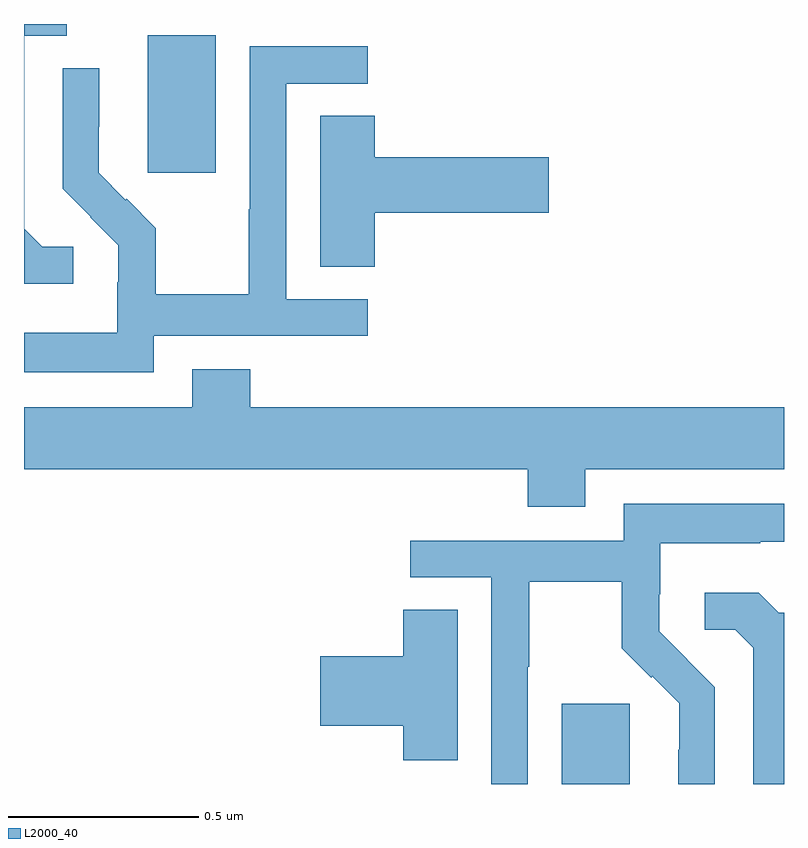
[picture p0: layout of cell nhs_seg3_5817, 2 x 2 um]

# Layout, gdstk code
import gdstk
lib = gdstk.Library(unit=1e-6, precision=1e-09)
def R(c, l, rs):  # rectangles x0, y0, x1, y1
    for r in rs: c.add(gdstk.rectangle(r[:2], r[2:], *l))
def P(c, l, *ps):  # polygons
    for p in ps: c.add(gdstk.Polygon(p, *l))
L2000_40 = (2000, 40)

nhs_seg3_5817 = lib.new_cell('nhs_seg3_5817')
R(nhs_seg3_5817, L2000_40, [(184.415,721.4,184.594,721.611), (183.326,723.009,183.505,723.37)])
P(nhs_seg3_5817, L2000_40, [(183.13,722.814),(183.048,722.814),(183.001,722.861),(183.001,723.369),(183.112,723.369),(183.112,723.4),(183,723.4),(183,722.717),(183.13,722.717)],
  [(183.342,722.58),(183.904,722.58),(183.904,722.676),(183.69,722.676),(183.69,723.243),(183.904,723.243),(183.904,723.342),(183.594,723.342),(183.594,722.912),(183.592,722.912),(183.592,722.689),(183.347,722.689),(183.347,722.863),(183.27,722.94),(183.267,722.937),(183.197,723.008),(183.197,723.13),(183.198,723.13),(183.198,723.284),(183.102,723.284),(183.102,722.966),(183.175,722.893),(183.174,722.892),(183.248,722.818),(183.248,722.721),(183.246,722.721),(183.246,722.587),(183,722.587),(183,722.483),(183.342,722.483)],
  [(183.923,722.903),(184.381,722.903),(184.381,723.05),(183.923,723.05),(183.923,723.158),(183.779,723.158),(183.779,722.761),(183.923,722.761)],
  [(184.477,722.228),(185,722.228),(185,722.392),(183.596,722.392),(183.596,722.491),(183.443,722.491),(183.443,722.392),(183,722.392),(183,722.228),(184.325,722.228),(184.325,722.129),(184.477,722.129)],
  [(184.326,721.708),(184.329,721.708),(184.329,721.932),(184.573,721.932),(184.573,721.757),(184.65,721.68),(184.653,721.683),(184.724,721.613),(184.724,721.49),(184.722,721.49),(184.722,721.4),(184.818,721.4),(184.818,721.654),(184.745,721.727),(184.746,721.728),(184.672,721.802),(184.672,721.899),(184.674,721.899),(184.674,722.033),(184.937,722.033),(184.937,722.037),(185,722.037),(185,722.137),(184.578,722.137),(184.578,722.04),(184.017,722.04),(184.017,721.944),(184.23,721.944),(184.23,721.4),(184.326,721.4)],
  [(185,721.851),(184.986,721.851),(184.934,721.903),(184.791,721.903),(184.791,721.806),(184.872,721.806),(184.919,721.759),(184.919,721.4),(185,721.4)],
  [(184.141,721.859),(183.998,721.859),(183.998,721.736),(183.78,721.736),(183.78,721.553),(183.998,721.553),(183.998,721.462),(184.141,721.462)])

lib.write_gds('nhs_seg3_5817.gds')
